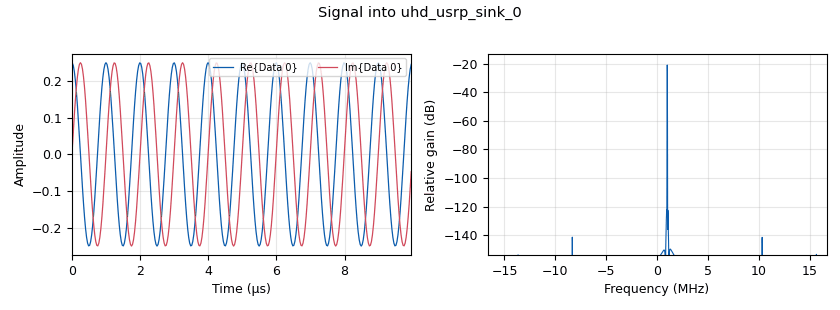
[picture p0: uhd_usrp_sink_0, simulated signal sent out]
<?xml version='1.0' encoding='utf-8'?>
<?grc format='1' created='3.7.11'?>
<flow_graph>
<block>
<key>options</key>
<param><key>id</key><value>top_block</value></param>
<param><key>category</key><value>Custom</value></param>
<param><key>generate_options</key><value>qt_gui</value></param>
</block>
<block>
<key>variable</key>
<param><key>id</key><value>center_freq</value></param>
<param><key>value</key><value>int(915E6)</value></param>
</block>
<block>
<key>variable_qtgui_range</key>
<param><key>id</key><value>qt_gain</value></param>
<param><key>value</key><value>0.2</value></param>
<param><key>orient</key><value>Qt.Horizontal</value></param>
<param><key>start</key><value>0</value></param>
<param><key>step</key><value>0.01</value></param>
<param><key>stop</key><value>1</value></param>
</block>
<block>
<key>variable</key>
<param><key>id</key><value>samp_rate</value></param>
<param><key>value</key><value>int(33.333333E6)</value></param>
</block>
<block>
<key>variable_qtgui_range</key>
<param><key>id</key><value>variable_qtgui_range_0</value></param>
<param><key>value</key><value>0</value></param>
<param><key>orient</key><value>Qt.Horizontal</value></param>
<param><key>start</key><value>-1E6</value></param>
<param><key>step</key><value>1000</value></param>
<param><key>stop</key><value>1E6</value></param>
</block>
<block>
<key>analog_sig_source_x</key>
<param><key>id</key><value>analog_sig_source_x_0</value></param>
<param><key>amp</key><value>0.25</value></param>
<param><key>freq</key><value>int(1E6)</value></param>
<param><key>offset</key><value>0</value></param>
<param><key>type</key><value>complex</value></param>
<param><key>samp_rate</key><value>samp_rate</value></param>
<param><key>waveform</key><value>analog.GR_COS_WAVE</value></param>
</block>
<block>
<key>blocks_null_sink</key>
<param><key>id</key><value>blocks_null_sink_0</value></param>
<param><key>bus_conns</key><value>[[0,],]</value></param>
<param><key>_enabled</key><value>0</value></param>
<param><key>type</key><value>complex</value></param>
</block>
<block>
<key>qtgui_freq_sink_x</key>
<param><key>id</key><value>qtgui_freq_sink_x_0</value></param>
<param><key>bw</key><value>samp_rate</value></param>
<param><key>fc</key><value>center_freq</value></param>
<param><key>_enabled</key><value>0</value></param>
<param><key>fftsize</key><value>1024*4</value></param>
<param><key>showports</key><value>True</value></param>
<param><key>type</key><value>complex</value></param>
<param><key>wintype</key><value>firdes.WIN_BLACKMAN_hARRIS</value></param>
</block>
<block>
<key>qtgui_waterfall_sink_x</key>
<param><key>id</key><value>qtgui_waterfall_sink_x_0</value></param>
<param><key>bw</key><value>samp_rate</value></param>
<param><key>fc</key><value>center_freq</value></param>
<param><key>_enabled</key><value>0</value></param>
<param><key>fftsize</key><value>1024*4</value></param>
<param><key>showports</key><value>True</value></param>
<param><key>type</key><value>complex</value></param>
<param><key>wintype</key><value>firdes.WIN_BLACKMAN_hARRIS</value></param>
</block>
<block>
<key>uhd_usrp_sink</key>
<param><key>id</key><value>uhd_usrp_sink_0</value></param>
<param><key>ant0</key><value></value></param>
<param><key>center_freq0</key><value>0</value></param>
<param><key>norm_gain0</key><value>False</value></param>
<param><key>gain0</key><value>0</value></param>
<param><key>clock_rate</key><value>0.0</value></param>
<param><key>dev_args</key><value>""</value></param>
<param><key>type</key><value>fc32</value></param>
<param><key>sd_spec0</key><value>A:0</value></param>
<param><key>samp_rate</key><value>samp_rate</value></param>
<param><key>hide_cmd_port</key><value>False</value></param>
<param><key>hide_lo_controls</key><value>True</value></param>
<param><key>sync</key><value></value></param>
<param><key>len_tag_name</key><value></value></param>
</block>
<block>
<key>uhd_usrp_source</key>
<param><key>id</key><value>uhd_usrp_source_0</value></param>
<param><key>ant0</key><value>RX2</value></param>
<param><key>bw0</key><value>samp_rate/2</value></param>
<param><key>center_freq0</key><value>center_freq+variable_qtgui_range_0</value></param>
<param><key>dc_offs_enb0</key><value>""</value></param>
<param><key>iq_imbal_enb0</key><value>""</value></param>
<param><key>norm_gain0</key><value>True</value></param>
<param><key>gain0</key><value>qt_gain</value></param>
<param><key>clock_rate</key><value>0.0</value></param>
<param><key>dev_args</key><value>""</value></param>
<param><key>_enabled</key><value>0</value></param>
<param><key>maxoutbuf</key><value>0x8000</value></param>
<param><key>clock_source0</key><value>internal</value></param>
<param><key>sd_spec0</key><value>A:0</value></param>
<param><key>minoutbuf</key><value>0x8000</value></param>
<param><key>type</key><value>fc32</value></param>
<param><key>samp_rate</key><value>samp_rate</value></param>
<param><key>hide_cmd_port</key><value>False</value></param>
<param><key>hide_lo_controls</key><value>True</value></param>
<param><key>sync</key><value></value></param>
</block>
<connection><source_block_id>analog_sig_source_x_0</source_block_id><sink_block_id>uhd_usrp_sink_0</sink_block_id><source_key>0</source_key><sink_key>0</sink_key></connection>
<connection><source_block_id>uhd_usrp_source_0</source_block_id><sink_block_id>blocks_null_sink_0</sink_block_id><source_key>0</source_key><sink_key>0</sink_key></connection>
<connection><source_block_id>uhd_usrp_source_0</source_block_id><sink_block_id>qtgui_freq_sink_x_0</sink_block_id><source_key>0</source_key><sink_key>0</sink_key></connection>
<connection><source_block_id>uhd_usrp_source_0</source_block_id><sink_block_id>qtgui_waterfall_sink_x_0</sink_block_id><source_key>0</source_key><sink_key>0</sink_key></connection>
</flow_graph>
